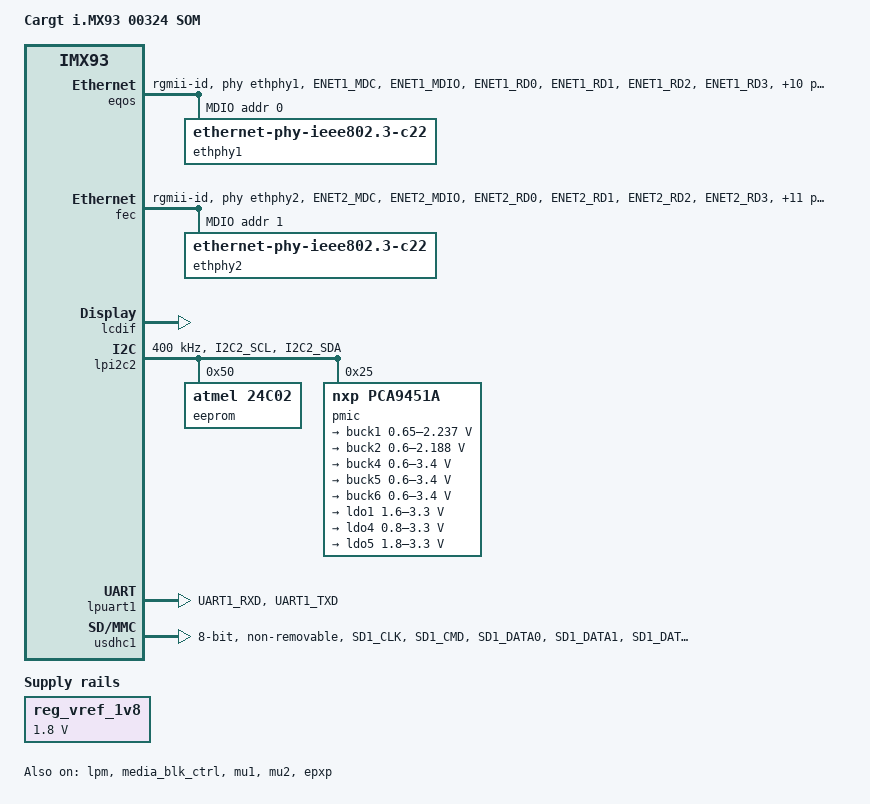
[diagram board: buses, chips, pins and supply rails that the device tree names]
// SPDX-License-Identifier: (GPL-2.0+ OR MIT)
/*
 * Copyright 2022 NXP
 */

#include <dt-bindings/usb/pd.h>
#include "imx93.dtsi"

&ele_fw2 {
	memory-region = <&ele_reserved>;
};

/ {
	model = "Cargt i.MX93 00324 SOM";
	compatible = "cargt,imx93-00324", "fsl,imx93";

	chosen {
		stdout-path = &lpuart1;
	};

	reserved-memory {
		#address-cells = <2>;
		#size-cells = <2>;
		ranges;

		linux,cma {
			compatible = "shared-dma-pool";
			reusable;
			alloc-ranges = <0 0xb0000000 0 0x30000000>;
			size = <0 0xc000000>;
			linux,cma-default;
		};

		vdev0vring0: vdev0vring0@a4000000 {
			reg = <0 0xa4000000 0 0x8000>;
			no-map;
		};

		vdev0vring1: vdev0vring1@a4008000 {
			reg = <0 0xa4008000 0 0x8000>;
			no-map;
		};

		vdev1vring0: vdev1vring0@a4000000 {
			reg = <0 0xa4010000 0 0x8000>;
			no-map;
		};

		vdev1vring1: vdev1vring1@a4018000 {
			reg = <0 0xa4018000 0 0x8000>;
			no-map;
		};

		rsc_table: rsc-table@2021e000 {
			reg = <0 0x2021e000 0 0x1000>;
			no-map;
		};

		vdevbuffer: vdevbuffer@a4020000 {
			compatible = "shared-dma-pool";
			reg = <0 0xa4020000 0 0x100000>;
			no-map;
		};

		ele_reserved: ele-reserved@a4120000 {
			compatible = "shared-dma-pool";
			reg = <0 0xa4120000 0 0x100000>;
			no-map;
		};
	};

	reg_vref_1v8: regulator-adc-vref {
		compatible = "regulator-fixed";
		regulator-name = "vref_1v8";
		regulator-min-microvolt = <1800000>;
		regulator-max-microvolt = <1800000>;
	};
};
	
&adc1 {
	vref-supply = <&reg_vref_1v8>;
	status = "disabled";
};

&eqos {
	pinctrl-names = "default";
	pinctrl-0 = <&pinctrl_eqos>;
	phy-mode = "rgmii-id";
	phy-handle = <&ethphy1>;
	snps,reset-gpios = <&gpio2 26 GPIO_ACTIVE_LOW>;
	snps,reset-delays-us = <10 20 200000>;
	status = "okay";

	mdio {
		compatible = "snps,dwmac-mdio";
		#address-cells = <1>;
		#size-cells = <0>;
		clock-frequency = <5000000>;

		ethphy1: ethernet-phy@0 {
			compatible = "ethernet-phy-ieee802.3-c22";
			reg = <0>;
			eee-broken-1000t;
		};
	};
};

&fec {
	pinctrl-names = "default";
	pinctrl-0 = <&pinctrl_fec>;
	phy-mode = "rgmii-id";
	phy-handle = <&ethphy2>;
	fsl,magic-packet;
	phy-reset-gpios = <&gpio2 28 GPIO_ACTIVE_LOW>;
	phy-reset-duration = <10>;
	phy-reset-post-delay = <150>;
	status = "okay";

	mdio {
		#address-cells = <1>;
		#size-cells = <0>;
		clock-frequency = <5000000>;

		ethphy2: ethernet-phy@1 {
			compatible = "ethernet-phy-ieee802.3-c22";
			reg = <1>;
			eee-broken-1000t;
		};
	};
};

&lcdif {
	status = "okay";
	assigned-clock-rates = <445333333>, <148444444>, <400000000>, <133333333>;
};

&lpm {
	soc-supply = <&buck1>;
	status = "okay";
};

&lpi2c2 {
	#address-cells = <1>;
	#size-cells = <0>;
	clock-frequency = <400000>;
	pinctrl-names = "default", "sleep";
	pinctrl-0 = <&pinctrl_lpi2c2>;
	pinctrl-1 = <&pinctrl_lpi2c2>;
	status = "okay";

	/* eeprom on som */
	eeprom@50 {
		compatible = "atmel,24c02";
		reg = <0x50>;
		pagesize = <16>;		
	};

	pmic@25 {
		compatible = "nxp,pca9451a";
		reg = <0x25>;

		regulators {
			buck1: BUCK1 {
				regulator-name = "BUCK1";
				regulator-min-microvolt = <650000>;
				regulator-max-microvolt = <2237500>;
				regulator-boot-on;
				regulator-always-on;
				regulator-ramp-delay = <3125>;
			};

			buck2: BUCK2 {
				regulator-name = "BUCK2";
				regulator-min-microvolt = <600000>;
				regulator-max-microvolt = <2187500>;
				regulator-boot-on;
				regulator-always-on;
				regulator-ramp-delay = <3125>;
			};

			buck4: BUCK4{
				regulator-name = "BUCK4";
				regulator-min-microvolt = <600000>;
				regulator-max-microvolt = <3400000>;
				regulator-boot-on;
				regulator-always-on;
			};

			buck5: BUCK5{
				regulator-name = "BUCK5";
				regulator-min-microvolt = <600000>;
				regulator-max-microvolt = <3400000>;
				regulator-boot-on;
				regulator-always-on;
			};

			buck6: BUCK6 {
				regulator-name = "BUCK6";
				regulator-min-microvolt = <600000>;
				regulator-max-microvolt = <3400000>;
				regulator-boot-on;
				regulator-always-on;
			};

			ldo1: LDO1 {
				regulator-name = "LDO1";
				regulator-min-microvolt = <1600000>;
				regulator-max-microvolt = <3300000>;
				regulator-boot-on;
				regulator-always-on;
			};

			ldo4: LDO4 {
				regulator-name = "LDO4";
				regulator-min-microvolt = <800000>;
				regulator-max-microvolt = <3300000>;
				regulator-boot-on;
				regulator-always-on;
			};

			ldo5: LDO5 {
				regulator-name = "LDO5";
				regulator-min-microvolt = <1800000>;
				regulator-max-microvolt = <3300000>;
				regulator-boot-on;
				regulator-always-on;
			};
		};
	};
};


&lpuart1 { /* console */
	pinctrl-names = "default";
	pinctrl-0 = <&pinctrl_uart1>;
	status = "okay";
};


&media_blk_ctrl {
	status = "okay";
};
&mu1 {
	status = "okay";
};

&mu2 {
	status = "okay";
};

&usdhc1 {
	pinctrl-names = "default", "state_100mhz", "state_200mhz";
	pinctrl-0 = <&pinctrl_usdhc1>;
	pinctrl-1 = <&pinctrl_usdhc1>;
	pinctrl-2 = <&pinctrl_usdhc1>;
	bus-width = <8>;
	non-removable;
	status = "okay";
};

&iomuxc {
	pinctrl_eqos: eqosgrp {
		fsl,pins = <
			MX93_PAD_ENET1_MDC__ENET_QOS_MDC			0x57e
			MX93_PAD_ENET1_MDIO__ENET_QOS_MDIO			0x57e
			MX93_PAD_ENET1_RD0__ENET_QOS_RGMII_RD0			0x57e
			MX93_PAD_ENET1_RD1__ENET_QOS_RGMII_RD1			0x57e
			MX93_PAD_ENET1_RD2__ENET_QOS_RGMII_RD2			0x57e
			MX93_PAD_ENET1_RD3__ENET_QOS_RGMII_RD3			0x57e
			MX93_PAD_ENET1_RXC__CCM_ENET_QOS_CLOCK_GENERATE_RX_CLK	0x5fe
			MX93_PAD_ENET1_RX_CTL__ENET_QOS_RGMII_RX_CTL		0x57e
			MX93_PAD_ENET1_TD0__ENET_QOS_RGMII_TD0			0x57e
			MX93_PAD_ENET1_TD1__ENET_QOS_RGMII_TD1			0x57e
			MX93_PAD_ENET1_TD2__ENET_QOS_RGMII_TD2			0x57e
			MX93_PAD_ENET1_TD3__ENET_QOS_RGMII_TD3			0x57e
			MX93_PAD_ENET1_TXC__CCM_ENET_QOS_CLOCK_GENERATE_TX_CLK	0x5fe
			MX93_PAD_ENET1_TX_CTL__ENET_QOS_RGMII_TX_CTL		0x57e
			MX93_PAD_GPIO_IO24__GPIO2_IO24					0x31e	/*int*/
			MX93_PAD_GPIO_IO26__GPIO2_IO26					0x31e	/*reset*/
		>;
	};

	pinctrl_fec: fecgrp {
		fsl,pins = <
			MX93_PAD_ENET2_MDC__ENET1_MDC			0x57e
			MX93_PAD_ENET2_MDIO__ENET1_MDIO			0x57e
			MX93_PAD_ENET2_RD0__ENET1_RGMII_RD0		0x57e
			MX93_PAD_ENET2_RD1__ENET1_RGMII_RD1		0x57e
			MX93_PAD_ENET2_RD2__ENET1_RGMII_RD2		0x57e
			MX93_PAD_ENET2_RD3__ENET1_RGMII_RD3		0x57e
			MX93_PAD_ENET2_RXC__ENET1_RGMII_RXC		0x5fe
			MX93_PAD_ENET2_RX_CTL__ENET1_RGMII_RX_CTL	0x57e
			MX93_PAD_ENET2_TD0__ENET1_RGMII_TD0		0x57e
			MX93_PAD_ENET2_TD1__ENET1_RGMII_TD1		0x57e
			MX93_PAD_ENET2_TD2__ENET1_RGMII_TD2		0x57e
			MX93_PAD_ENET2_TD3__ENET1_RGMII_TD3		0x57e
			MX93_PAD_ENET2_TXC__ENET1_RGMII_TXC		0x5fe
			MX93_PAD_ENET2_TX_CTL__ENET1_RGMII_TX_CTL	0x57e
			MX93_PAD_GPIO_IO28__GPIO2_IO28			0x31e	/*reset*/
			MX93_PAD_GPIO_IO29__GPIO2_IO29			0x31e	/*int*/
		>;
	};

	pinctrl_lpi2c2: lpi2c2grp {
		fsl,pins = <
			MX93_PAD_I2C2_SCL__LPI2C2_SCL			0x40000b9e
			MX93_PAD_I2C2_SDA__LPI2C2_SDA			0x40000b9e
		>;
	};

	pinctrl_uart1: uart1grp {
		fsl,pins = <
			MX93_PAD_UART1_RXD__LPUART1_RX			0x31e
			MX93_PAD_UART1_TXD__LPUART1_TX			0x31e
		>;
	};

	pinctrl_usdhc1: usdhc1grp {
		fsl,pins = <
			MX93_PAD_SD1_CLK__USDHC1_CLK		0x15fe
			MX93_PAD_SD1_CMD__USDHC1_CMD		0x13fe
			MX93_PAD_SD1_DATA0__USDHC1_DATA0	0x13fe
			MX93_PAD_SD1_DATA1__USDHC1_DATA1	0x13fe
			MX93_PAD_SD1_DATA2__USDHC1_DATA2	0x13fe
			MX93_PAD_SD1_DATA3__USDHC1_DATA3	0x13fe
			MX93_PAD_SD1_DATA4__USDHC1_DATA4	0x13fe
			MX93_PAD_SD1_DATA5__USDHC1_DATA5	0x13fe
			MX93_PAD_SD1_DATA6__USDHC1_DATA6	0x13fe
			MX93_PAD_SD1_DATA7__USDHC1_DATA7	0x13fe
			MX93_PAD_SD1_STROBE__USDHC1_STROBE	0x15fe
		>;
	};

};

&epxp {
	status = "okay";
};
